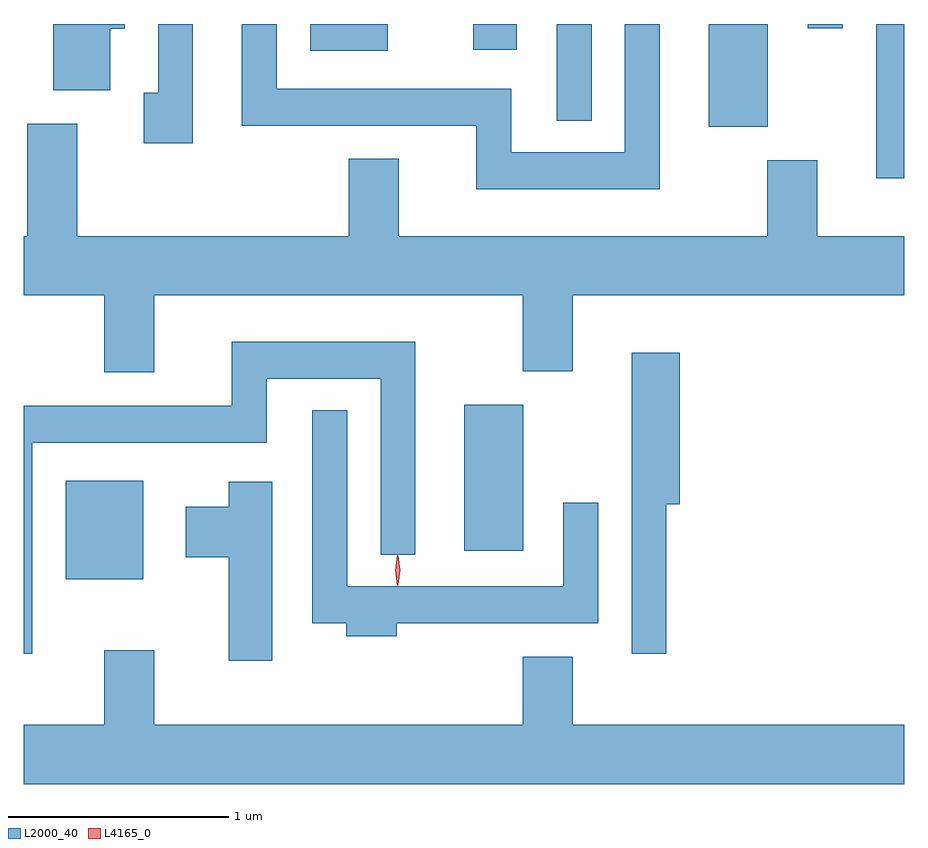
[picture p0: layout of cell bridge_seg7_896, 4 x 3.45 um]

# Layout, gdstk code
import gdstk
lib = gdstk.Library(unit=1e-6, precision=1e-09)
def R(c, l, rs):  # rectangles x0, y0, x1, y1
    for r in rs: c.add(gdstk.rectangle(r[:2], r[2:], *l))
def P(c, l, *ps):  # polygons
    for p in ps: c.add(gdstk.Polygon(p, *l))
L2000_40 = (2000, 40)
L4165_0 = (4165, 0)

bridge_seg7_896 = lib.new_cell('bridge_seg7_896')
R(bridge_seg7_896, L2000_40, [(487.246,1735.226,487.599,1735.674), (489.056,1735.356,489.324,1736.019), (490.926,1737.046,491.055,1737.747), (490.166,1737.281,490.434,1737.747), (489.476,1737.308,489.634,1737.747), (488.356,1737.626,488.709,1737.747), (490.616,1737.728,490.774,1737.747)])
P(bridge_seg7_896, L2000_40, [(489.294,1737.747),(488.901,1737.747),(488.901,1737.746),(489.096,1737.746),(489.096,1737.631),(489.294,1737.631)],
  [(489.944,1737.747),(489.786,1737.747),(489.786,1737.164),(489.269,1737.164),(489.269,1737.454),(488.204,1737.454),(488.204,1737.747),(488.046,1737.747),(488.046,1737.286),(489.111,1737.286),(489.111,1736.996),(489.944,1736.996)],
  [(487.824,1737.747),(487.666,1737.747),(487.666,1737.434),(487.601,1737.434),(487.601,1737.206),(487.824,1737.206)],
  [(487.449,1737.726),(487.514,1737.726),(487.514,1737.747),(487.191,1737.747),(487.191,1737.446),(487.449,1737.446)],
  [(487.649,1736.516),(489.321,1736.516),(489.321,1736.171),(489.549,1736.171),(489.549,1736.516),(491.055,1736.516),(491.055,1736.784),(490.659,1736.784),(490.659,1737.129),(490.431,1737.129),(490.431,1736.784),(488.759,1736.784),(488.759,1737.134),(488.531,1737.134),(488.531,1736.784),(487.299,1736.784),(487.299,1737.294),(487.071,1737.294),(487.071,1736.784),(487.055,1736.784),(487.055,1736.516),(487.421,1736.516),(487.421,1736.166),(487.649,1736.166)],
  [(487.094,1735.846),(488.159,1735.846),(488.159,1736.136),(488.676,1736.136),(488.676,1735.338),(488.834,1735.338),(488.834,1736.304),(488.001,1736.304),(488.001,1736.014),(487.055,1736.014),(487.055,1734.888),(487.094,1734.888)],
  [(489.974,1735.566),(490.034,1735.566),(490.034,1736.254),(489.816,1736.254),(489.816,1734.888),(489.974,1734.888)],
  [(488.749,1735.026),(489.664,1735.026),(489.664,1735.573),(489.506,1735.573),(489.506,1735.194),(488.524,1735.194),(488.524,1735.993),(488.366,1735.993),(488.366,1735.026),(488.521,1735.026),(488.521,1734.966),(488.749,1734.966)],
  [(488.184,1735.669),(487.986,1735.669),(487.986,1735.554),(487.791,1735.554),(487.791,1735.326),(487.986,1735.326),(487.986,1734.856),(488.184,1734.856)],
  [(491.055,1734.564),(489.549,1734.564),(489.549,1734.874),(489.321,1734.874),(489.321,1734.564),(487.649,1734.564),(487.649,1734.904),(487.421,1734.904),(487.421,1734.564),(487.055,1734.564),(487.055,1734.296),(491.055,1734.296)])
P(bridge_seg7_896, L4165_0, [(488.752,1735.197),(488.752,1735.197),(488.742,1735.267),(488.752,1735.336),(488.752,1735.336),(488.753,1735.336),(488.762,1735.267),(488.753,1735.197)],
  [(488.756,1735.199),(488.755,1735.2),(488.746,1735.266),(488.755,1735.332),(488.756,1735.333),(488.756,1735.332),(488.766,1735.266),(488.756,1735.2)])

lib.write_gds('bridge_seg7_896.gds')
